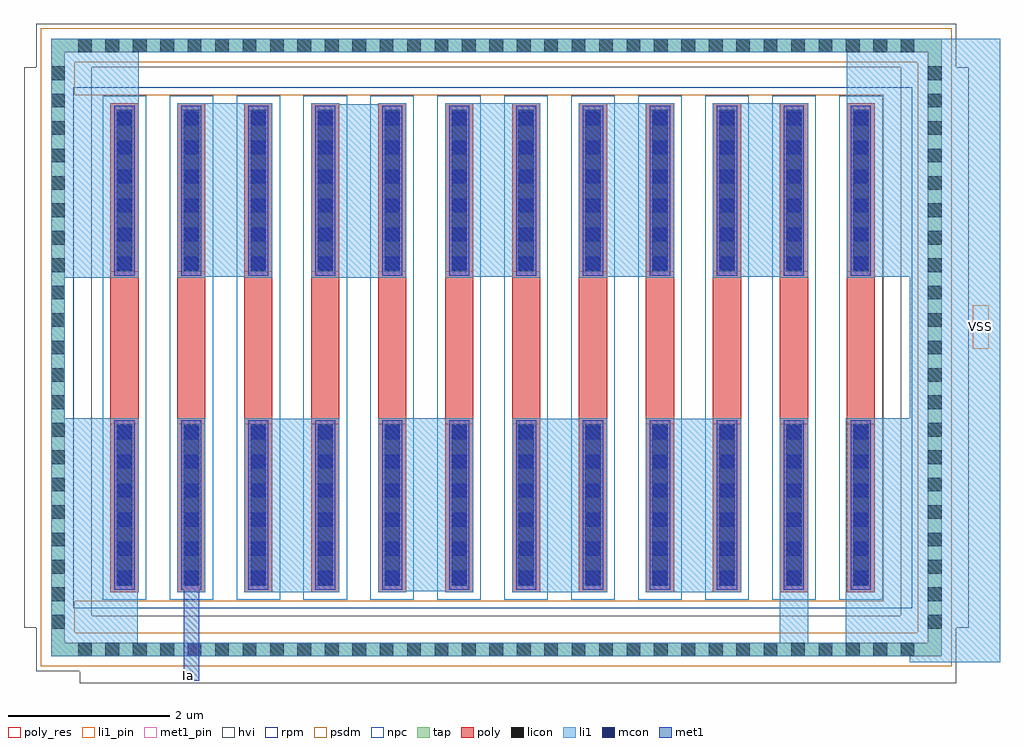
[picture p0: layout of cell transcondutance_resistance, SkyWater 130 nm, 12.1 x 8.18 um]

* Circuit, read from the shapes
.subckt transcondutance_resistance Ia VSS
XR1 VSS VSS VSS sky130_fd_pr__res_high_po w=0.35 l=1.78 m=2
XR2 n1 Ia VSS sky130_fd_pr__res_high_po w=0.35 l=1.78
XR3 n1 n2 VSS sky130_fd_pr__res_high_po w=0.35 l=1.78
XR4 n3 n2 VSS sky130_fd_pr__res_high_po w=0.35 l=1.78
XR5 n3 n4 VSS sky130_fd_pr__res_high_po w=0.35 l=1.78
XR6 n5 n4 VSS sky130_fd_pr__res_high_po w=0.35 l=1.78
XR7 n5 n6 VSS sky130_fd_pr__res_high_po w=0.35 l=1.78
XR8 n7 n6 VSS sky130_fd_pr__res_high_po w=0.35 l=1.78
XR9 n7 n8 VSS sky130_fd_pr__res_high_po w=0.35 l=1.78
XR10 n9 n8 VSS sky130_fd_pr__res_high_po w=0.35 l=1.78
XR11 n9 VSS VSS sky130_fd_pr__res_high_po w=0.35 l=1.78
.ends

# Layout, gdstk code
import gdstk
lib = gdstk.Library(unit=1e-6, precision=1e-09)
def R(c, l, rs):  # rectangles x0, y0, x1, y1
    for r in rs: c.add(gdstk.rectangle(r[:2], r[2:], *l))
def A(c, l, x, y, w, h, nx, ny, dx, dy):  # array of equal rectangles
    R(c, l, [(x+i*dx, y+j*dy, x+i*dx+w, y+j*dy+h) for i in range(nx) for j in range(ny)])
tap = (65, 44)
poly_res = (66, 13)
poly = (66, 20)
licon = (66, 44)
li1_pin = (67, 16)
li1 = (67, 20)
mcon = (67, 44)
met1_pin = (68, 16)
met1 = (68, 20)
hvi = (75, 20)
rpm = (86, 20)
psdm = (94, 20)
npc = (95, 20)

sky130_fd_pr__res_high_p = lib.new_cell('sky130_fd_pr__res_high_po_0p35_NX9RRP')
A(sky130_fd_pr__res_high_p, poly_res, -4.74, -0.95, 0.35, 1.9, 12, 1, 0.83, 0)
A(sky130_fd_pr__res_high_p, poly, -4.74, -3.03, 0.35, 6.06, 12, 1, 0.83, 0)
A(sky130_fd_pr__res_high_p, licon, -4.66, -2.95, 0.19, 2, 12, 2, 0.83, 3.9)
A(sky130_fd_pr__res_high_p, li1, -4.74, -3.03, 0.35, 2.16, 12, 2, 0.83, 3.9)
A(sky130_fd_pr__res_high_p, mcon, -4.65, -2.935, 0.17, 0.17, 12, 6, 0.83, 0.36)
A(sky130_fd_pr__res_high_p, mcon, -4.65, 0.96, 0.17, 0.17, 12, 6, 0.83, 0.36)
A(sky130_fd_pr__res_high_p, met1, -4.69, -3, 0.25, 2.105, 12, 2, 0.83, 3.895)
R(sky130_fd_pr__res_high_p, rpm, [(-5.2,-3.23,5.2,3.23)])
R(sky130_fd_pr__res_high_p, psdm, [(-4.85,-3.14,4.85,3.14)])
A(sky130_fd_pr__res_high_p, npc, -4.835, -3.125, 0.54, 6.25, 12, 1, 0.83, 0)

transcondutance_resistan = lib.new_cell('transcondutance_resistance')
R(transcondutance_resistan, tap, [(-0.635,-0.755,10.405,-0.585), (-0.635,-0.585,-0.465,6.735), (10.235,-0.585,10.405,6.735), (-0.635,6.735,10.405,6.905)])
A(transcondutance_resistan, licon, -0.3, -0.755, 0.17, 0.17, 31, 2, 0.34, 7.49)
A(transcondutance_resistan, licon, -0.635, -0.41, 0.17, 0.17, 1, 21, 0, 0.34)
A(transcondutance_resistan, licon, 10.235, -0.41, 0.17, 0.17, 1, 21, 0, 0.34)
R(transcondutance_resistan, li1_pin, [(10.79,3.06,10.99,3.6)])
R(transcondutance_resistan, li1, [(10.01,-0.83,11.13,-0.755), (-0.635,-0.755,11.13,-0.585), (-0.635,-0.585,0.44,2.2), (8.4,-0.585,8.75,0.13), (9.22,-0.585,11.13,2.2), (1.81,0.04,2.93,2.19), (5.1,0.04,6.22,2.19), (6.79,0.04,7.91,2.19), (3.44,0.05,4.56,2.2), (-0.635,2.2,-0.465,3.94), (10.01,2.2,11.13,3.95), (-0.635,3.94,0.45,6.735), (2.63,3.94,3.75,6.09), (0.94,3.95,2.06,6.1), (4.3,3.95,5.42,6.1), (5.95,3.95,7.07,6.1), (7.62,3.95,8.74,6.1), (9.23,3.95,11.13,6.735), (-0.635,6.735,11.13,6.9), (-0.635,6.9,10.405,6.905)])
R(transcondutance_resistan, met1_pin, [(1.02,-1.04,1.13,-0.94)])
R(transcondutance_resistan, met1, [(1.01,-1.06,1.2,0.31)])
R(transcondutance_resistan, hvi, [(-0.28,-1.09,10.59,-0.94), (-0.82,-0.94,10.59,-0.4), (-0.97,-0.4,10.74,-0.25), (-0.97,-0.25,-0.13,6.55), (9.9,-0.25,10.74,6.55), (-0.82,6.55,10.59,7.09)])
R(transcondutance_resistan, psdm, [(-0.76,-0.88,10.53,-0.46), (-0.76,-0.46,-0.34,-0.07), (10.11,-0.46,10.53,6.61), (-0.76,-0.07,-0.01,6.21), (-0.76,6.21,-0.34,6.61), (-0.76,6.61,10.53,7.03)])
transcondutance_resistan.add(gdstk.Reference(sky130_fd_pr__res_high_p, (4.84,3.07)))
transcondutance_resistan.add(gdstk.Label('VSS', (10.89,3.33), layer=67, texttype=5))
transcondutance_resistan.add(gdstk.Label('Ia', (1.075,-0.99), layer=68, texttype=5))

lib.write_gds('transcondutance_resistance.gds')
